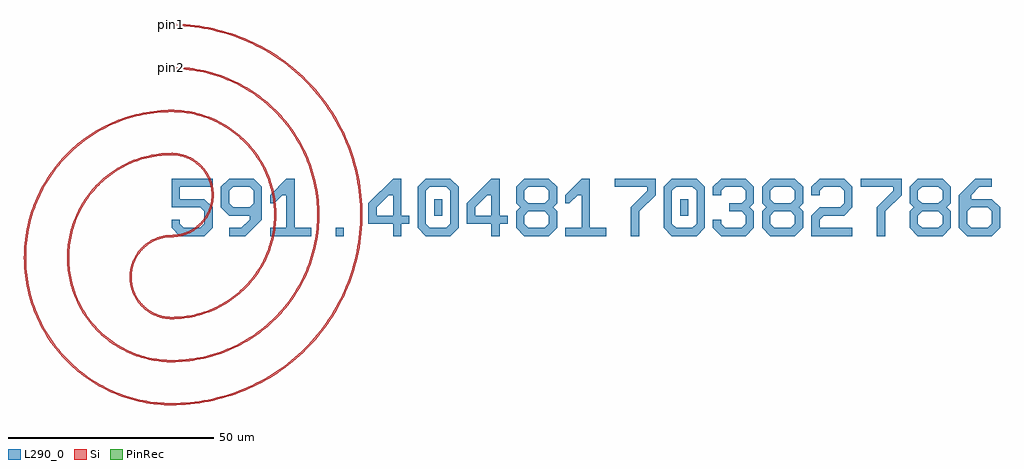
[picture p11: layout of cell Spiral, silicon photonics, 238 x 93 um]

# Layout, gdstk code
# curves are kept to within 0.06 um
import gdstk
lib = gdstk.Library(unit=1e-6, precision=1e-09)
def R(c, l, rs):  # rectangles x0, y0, x1, y1
    for r in rs: c.add(gdstk.rectangle(r[:2], r[2:], *l))
def P(c, l, *ps):  # polygons
    for p in ps: c.add(gdstk.Polygon(p, *l))
Si = (1, 0)
PinRec = (1, 10)
L290_0 = (290, 0)

spiral = lib.new_cell('Spiral')
P(spiral, Si, [(0,-0.25),(0,0.25),(1.194,0.323),(2.369,0.542),(3.509,0.903),(4.384,1.291),(5.808,2.169),(7.061,3.277),(8.237,4.784),(9.097,6.491),(9.563,8.098),(9.75,10),(9.563,11.902),(9.097,13.509),(8.237,15.216),(7.061,16.723),(5.808,17.831),(4.384,18.709),(3.509,19.097),(2.369,19.458),(1.194,19.677),(0,19.75),(0,20.25),(1.005,20.201),(2,20.053),(2.975,19.809),(3.923,19.47),(5.695,18.523),(7.248,17.248),(8.523,15.695),(9.47,13.923),(9.809,12.975),(10.053,12),(10.201,11.005),(10.25,10),(10.201,8.995),(10.053,8),(9.809,7.025),(9.47,6.077),(8.523,4.305),(7.248,2.752),(5.695,1.477),(3.923,0.53),(2.975,0.191),(2,-0.053),(1.005,-0.201)],
  [(0,-20.25),(-1.005,-20.201),(-2,-20.053),(-3.923,-19.47),(-5.695,-18.523),(-7.248,-17.248),(-8.523,-15.695),(-9.47,-13.923),(-10.053,-12),(-10.201,-11.005),(-10.25,-10),(-10.201,-8.995),(-10.001,-7.754),(-9.371,-5.846),(-8.792,-4.73),(-8.233,-3.894),(-7.424,-2.932),(-6.695,-2.239),(-5.052,-1.082),(-4.154,-0.629),(-3.215,-0.267),(-1.504,0.139),(0.956,0.297),(2.136,0.487),(3.509,0.903),(4.806,1.517),(6.185,2.463),(7.537,3.815),(8.599,5.404),(9.258,6.942),(9.563,8.098),(9.724,9.283),(9.747,10.239),(9.644,11.431),(9.458,12.369),(9.097,13.509),(8.599,14.596),(7.971,15.614),(7.224,16.548),(6.548,17.224),(5.013,18.363),(3.951,18.914),(2.6,19.397),(1.194,19.677),(0,19.75),(0,20.25),(1.005,20.201),(2,20.053),(3.923,19.47),(5.695,18.523),(7.248,17.248),(8.523,15.695),(9.47,13.923),(10.053,12),(10.201,11.005),(10.25,10),(10.201,8.995),(10.001,7.754),(9.371,5.846),(8.792,4.73),(8.233,3.894),(7.424,2.932),(6.695,2.239),(5.052,1.082),(4.154,0.629),(3.215,0.267),(1.504,-0.139),(-0.956,-0.297),(-2.136,-0.487),(-3.509,-0.903),(-4.806,-1.517),(-6.185,-2.463),(-7.537,-3.815),(-8.599,-5.404),(-9.258,-6.942),(-9.563,-8.098),(-9.724,-9.283),(-9.747,-10.239),(-9.644,-11.431),(-9.458,-12.369),(-9.097,-13.509),(-8.599,-14.596),(-7.971,-15.614),(-7.224,-16.548),(-6.548,-17.224),(-5.013,-18.363),(-3.951,-18.914),(-2.6,-19.397),(-1.194,-19.677),(0,-19.75)],
  [(0,-20.25),(0,-19.75),(2.45,-19.63),(5.478,-19.143),(7.842,-18.488),(10.131,-17.605),(12.322,-16.502),(14.395,-15.19),(15.86,-14.075),(17.678,-12.428),(19.325,-10.61),(20.787,-8.639),(22.048,-6.535),(23.097,-4.317),(23.924,-2.007),(24.52,0.373),(24.88,2.8),(25,5.25),(24.88,7.7),(24.52,10.127),(23.924,12.507),(23.097,14.817),(22.048,17.035),(20.787,19.139),(19.325,21.11),(17.678,22.928),(15.86,24.575),(14.395,25.69),(12.322,27.002),(10.131,28.105),(7.842,28.988),(5.478,29.643),(2.45,30.13),(0,30.25),(0,30.75),(2.499,30.627),(4.975,30.26),(7.402,29.652),(9.758,28.809),(12.021,27.739),(14.167,26.452),(16.177,24.962),(18.031,23.281),(19.712,21.427),(21.202,19.417),(22.489,17.271),(23.559,15.008),(24.402,12.652),(25.01,10.225),(25.377,7.749),(25.5,5.25),(25.377,2.751),(25.01,0.275),(24.402,-2.152),(23.559,-4.508),(22.489,-6.771),(21.202,-8.917),(19.712,-10.927),(18.031,-12.781),(16.177,-14.462),(14.167,-15.952),(12.021,-17.239),(9.758,-18.309),(7.402,-19.152),(4.975,-19.76),(2.499,-20.127)],
  [(0,-30.75),(-2.499,-30.627),(-4.975,-30.26),(-7.402,-29.652),(-9.758,-28.809),(-12.021,-27.739),(-14.167,-26.452),(-16.177,-24.962),(-18.031,-23.281),(-19.712,-21.427),(-21.202,-19.417),(-22.489,-17.271),(-23.559,-15.008),(-24.402,-12.652),(-25.01,-10.225),(-25.377,-7.749),(-25.5,-5.25),(-25.377,-2.751),(-25.01,-0.275),(-24.402,2.152),(-23.559,4.508),(-22.489,6.771),(-21.202,8.917),(-19.712,10.927),(-18.031,12.781),(-16.177,14.462),(-14.167,15.952),(-12.021,17.239),(-9.758,18.309),(-7.402,19.152),(-4.975,19.76),(-2.499,20.127),(0,20.25),(0,19.75),(-2.45,19.63),(-5.478,19.143),(-7.842,18.488),(-10.131,17.605),(-12.322,16.502),(-14.395,15.19),(-15.86,14.075),(-17.678,12.428),(-19.325,10.61),(-20.787,8.639),(-22.048,6.535),(-23.097,4.317),(-23.924,2.007),(-24.52,-0.373),(-24.88,-2.8),(-25,-5.25),(-24.88,-7.7),(-24.52,-10.127),(-23.924,-12.507),(-23.097,-14.817),(-22.048,-17.035),(-20.787,-19.139),(-19.325,-21.11),(-17.678,-22.928),(-15.86,-24.575),(-14.395,-25.69),(-12.322,-27.002),(-10.131,-28.105),(-7.842,-28.988),(-5.478,-29.643),(-2.45,-30.13),(0,-30.25)],
  [(0,-30.75),(0,-30.25),(2.612,-30.154),(4.346,-29.983),(6.926,-29.568),(8.626,-29.186),(11.96,-28.175),(14.386,-27.204),(16.735,-26.058),(19.723,-24.267),(22.521,-22.192),(25.102,-19.852),(27.442,-17.271),(29.517,-14.473),(31.308,-11.485),(32.798,-8.335),(33.971,-5.055),(34.818,-1.676),(35.329,1.77),(35.5,5.25),(35.329,8.73),(34.818,12.176),(33.971,15.555),(32.798,18.835),(31.308,21.985),(29.517,24.973),(27.442,27.771),(25.102,30.352),(22.521,32.692),(19.723,34.767),(16.735,36.558),(14.386,37.704),(11.96,38.675),(8.626,39.686),(6.926,40.068),(4.346,40.483),(2.612,40.654),(0,40.75),(0,41.25),(3.529,41.077),(7.023,40.558),(10.45,39.7),(13.777,38.51),(16.97,36.999),(20.001,35.183),(22.838,33.078),(25.456,30.706),(27.828,28.088),(29.933,25.251),(31.749,22.22),(33.26,19.027),(34.45,15.7),(35.308,12.273),(35.827,8.779),(36,5.25),(35.827,1.721),(35.308,-1.773),(34.45,-5.2),(33.26,-8.527),(31.749,-11.72),(29.933,-14.751),(27.828,-17.588),(25.456,-20.206),(22.838,-22.578),(20.001,-24.683),(16.97,-26.499),(13.777,-28.01),(10.45,-29.2),(7.023,-30.058),(3.529,-30.577)],
  [(0,-41.25),(-3.529,-41.077),(-7.023,-40.558),(-10.45,-39.7),(-13.777,-38.51),(-16.97,-36.999),(-20.001,-35.183),(-22.838,-33.078),(-25.456,-30.706),(-27.828,-28.088),(-29.933,-25.251),(-31.749,-22.22),(-33.26,-19.027),(-34.45,-15.7),(-35.308,-12.273),(-35.827,-8.779),(-36,-5.25),(-35.827,-1.721),(-35.308,1.773),(-34.45,5.2),(-33.26,8.527),(-31.749,11.72),(-29.933,14.751),(-27.828,17.588),(-25.456,20.206),(-22.838,22.578),(-20.001,24.683),(-16.97,26.499),(-13.777,28.01),(-10.45,29.2),(-7.023,30.058),(-3.529,30.577),(0,30.75),(0,30.25),(-2.612,30.154),(-4.346,29.983),(-6.926,29.568),(-8.626,29.186),(-11.96,28.175),(-14.386,27.204),(-16.735,26.058),(-19.723,24.267),(-22.521,22.192),(-25.102,19.852),(-27.442,17.271),(-29.517,14.473),(-31.308,11.485),(-32.798,8.335),(-33.971,5.055),(-34.818,1.676),(-35.329,-1.77),(-35.5,-5.25),(-35.329,-8.73),(-34.818,-12.176),(-33.971,-15.555),(-32.798,-18.835),(-31.308,-21.985),(-29.517,-24.973),(-27.442,-27.771),(-25.102,-30.352),(-22.521,-32.692),(-19.723,-34.767),(-16.735,-36.558),(-14.386,-37.704),(-11.96,-38.675),(-8.626,-39.686),(-6.926,-40.068),(-4.346,-40.483),(-2.612,-40.654),(0,-40.75)],
  [(0,-41.25),(0,-40.75),(2.257,-40.695),(5.631,-40.404),(7.864,-40.073),(11.177,-39.371),(13.353,-38.769),(15.497,-38.061),(18.641,-36.804),(20.682,-35.838),(22.673,-34.774),(25.556,-32.998),(27.402,-31.698),(29.182,-30.308),(30.892,-28.834),(32.527,-27.277),(34.084,-25.642),(35.558,-23.932),(36.948,-22.152),(38.248,-20.306),(39.456,-18.399),(40.568,-16.434),(41.584,-14.418),(42.498,-12.353),(43.311,-10.247),(44.019,-8.103),(44.621,-5.927),(45.116,-3.724),(45.502,-1.5),(45.778,0.741),(45.945,2.993),(46,5.25),(45.945,7.507),(45.778,9.759),(45.502,12),(45.116,14.224),(44.621,16.427),(44.019,18.603),(43.311,20.747),(42.498,22.853),(41.584,24.918),(40.568,26.934),(39.456,28.899),(38.248,30.806),(36.948,32.652),(35.558,34.432),(34.084,36.142),(32.527,37.777),(30.892,39.334),(29.182,40.808),(27.402,42.198),(25.556,43.498),(22.673,45.274),(20.682,46.338),(18.641,47.304),(15.497,48.561),(13.353,49.269),(11.177,49.871),(7.864,50.573),(5.631,50.904),(2.257,51.195),(0,51.25),(0,51.75),(2.282,51.694),(4.558,51.526),(6.823,51.247),(9.072,50.857),(11.299,50.356),(13.498,49.748),(15.665,49.032),(17.795,48.21),(19.881,47.286),(21.92,46.259),(23.906,45.134),(25.834,43.913),(27.7,42.599),(29.499,41.195),(31.227,39.704),(32.88,38.13),(34.454,36.477),(35.945,34.749),(37.349,32.95),(38.663,31.084),(39.884,29.156),(41.009,27.17),(42.036,25.131),(42.96,23.045),(43.782,20.915),(44.498,18.748),(45.106,16.549),(45.607,14.322),(45.997,12.073),(46.276,9.808),(46.444,7.532),(46.5,5.25),(46.444,2.968),(46.276,0.692),(45.997,-1.573),(45.607,-3.822),(45.106,-6.049),(44.498,-8.248),(43.782,-10.415),(42.96,-12.545),(42.036,-14.631),(41.009,-16.67),(39.884,-18.656),(38.663,-20.584),(37.349,-22.45),(35.945,-24.249),(34.454,-25.977),(32.88,-27.63),(31.227,-29.204),(29.499,-30.695),(27.7,-32.099),(25.834,-33.413),(23.906,-34.634),(21.92,-35.759),(19.881,-36.786),(17.795,-37.71),(15.665,-38.532),(13.498,-39.248),(11.299,-39.856),(9.072,-40.357),(6.823,-40.747),(4.558,-41.026),(2.282,-41.194)])
R(spiral, L290_0, [(40,0,42,2), (64,5,66,9), (124,5,126,9)])
P(spiral, L290_0, [(2,0),(0,2),(0,4),(2,4),(2,3),(3,2),(7,2),(8,3),(8,6),(7,7),(0,7),(0,14),(10,14),(10,12),(2,12),(2,9),(8,9),(10,7),(10,2),(8,0)],
  [(14,0),(14,2),(17,2),(19,4),(19,5),(14,5),(12,7),(19,7),(20,8),(20,11),(19,12),(15,12),(14,11),(14,8),(15,7),(12,7),(12,12),(14,14),(20,14),(22,12),(22,4),(18,0)],
  [(24,0),(24,2),(28,2),(28,10),(27,10),(25,8),(24,8),(24,10),(28,14),(30,14),(30,2),(34,2),(34,0)],
  [(54,0),(54,3),(48,3),(48,5),(54,5),(54,10),(53,10),(50,7),(50,5),(48,5),(48,8),(54,14),(56,14),(56,5),(58,5),(58,3),(56,3),(56,0)],
  [(62,0),(60,2),(60,12),(62,14),(68,14),(70,12),(63,12),(62,11),(62,3),(63,2),(67,2),(68,3),(68,11),(67,12),(70,12),(70,2),(68,0)],
  [(78,0),(78,3),(72,3),(72,5),(78,5),(78,10),(77,10),(74,7),(74,5),(72,5),(72,8),(78,14),(80,14),(80,5),(82,5),(82,3),(80,3),(80,0)],
  [(86,0),(84,2),(84,6),(85,7),(84,8),(84,12),(86,14),(92,14),(94,12),(87,12),(86,11),(86,9),(87,8),(91,8),(92,9),(92,11),(91,12),(94,12),(94,8),(93,7),(94,6),(87,6),(86,5),(86,3),(87,2),(91,2),(92,3),(92,5),(91,6),(94,6),(94,2),(92,0)],
  [(96,0),(96,2),(100,2),(100,10),(99,10),(97,8),(96,8),(96,10),(100,14),(102,14),(102,2),(106,2),(106,0)],
  [(112,0),(112,7),(116,11),(116,12),(108,12),(108,14),(118,14),(118,10),(114,6),(114,0)],
  [(122,0),(120,2),(120,12),(122,14),(128,14),(130,12),(123,12),(122,11),(122,3),(123,2),(127,2),(128,3),(128,11),(127,12),(130,12),(130,2),(128,0)],
  [(134,0),(132,2),(132,4),(134,4),(134,3),(135,2),(139,2),(140,3),(140,5),(139,6),(136,6),(136,8),(139,8),(140,9),(140,11),(139,12),(135,12),(134,11),(134,10),(132,10),(132,12),(134,14),(140,14),(142,12),(142,8),(141,7),(142,6),(142,2),(140,0)],
  [(146,0),(144,2),(144,6),(145,7),(144,8),(144,12),(146,14),(152,14),(154,12),(147,12),(146,11),(146,9),(147,8),(151,8),(152,9),(152,11),(151,12),(154,12),(154,8),(153,7),(154,6),(147,6),(146,5),(146,3),(147,2),(151,2),(152,3),(152,5),(151,6),(154,6),(154,2),(152,0)],
  [(156,0),(156,5),(158,7),(163,7),(164,8),(164,11),(163,12),(159,12),(158,11),(158,10),(156,10),(156,12),(158,14),(164,14),(166,12),(166,7),(164,5),(159,5),(158,4),(158,2),(166,2),(166,0)],
  [(172,0),(172,7),(176,11),(176,12),(168,12),(168,14),(178,14),(178,10),(174,6),(174,0)],
  [(182,0),(180,2),(180,6),(181,7),(180,8),(180,12),(182,14),(188,14),(190,12),(183,12),(182,11),(182,9),(183,8),(187,8),(188,9),(188,11),(187,12),(190,12),(190,8),(189,7),(190,6),(183,6),(182,5),(182,3),(183,2),(187,2),(188,3),(188,5),(187,6),(190,6),(190,2),(188,0)],
  [(194,0),(192,2),(192,10),(196,14),(200,14),(200,12),(197,12),(195,10),(195,9),(200,9),(202,7),(195,7),(194,6),(194,3),(195,2),(199,2),(200,3),(200,6),(199,7),(202,7),(202,2),(200,0)])
spiral.add(gdstk.FlexPath([(0.05,51.5),(-0.05,51.5)], 0.5, ends="flush", simple_path=True, layer=1, datatype=10))  # PinRec
spiral.add(gdstk.FlexPath([(0.05,41),(-0.05,41)], 0.5, ends="flush", simple_path=True, layer=1, datatype=10))  # PinRec
spiral.add(gdstk.Label('pin1', (0,51.5), layer=1, texttype=10))
spiral.add(gdstk.Label('pin2', (0,41), layer=1, texttype=10))

lib.write_gds('Spiral.gds')
